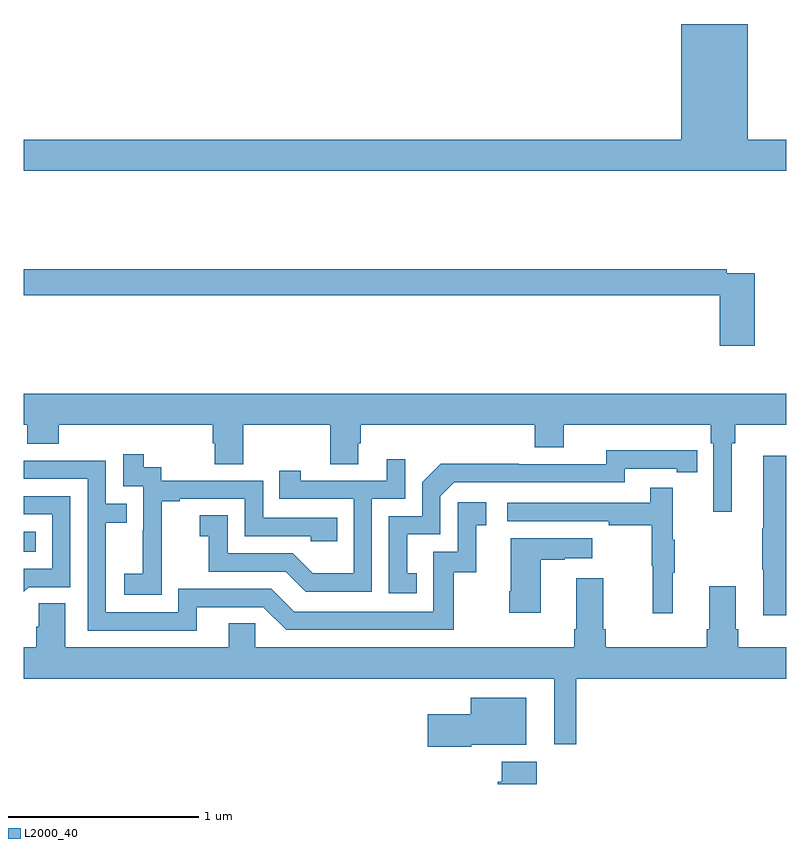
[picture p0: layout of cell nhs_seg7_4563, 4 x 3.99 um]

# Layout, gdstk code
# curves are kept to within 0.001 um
import gdstk
lib = gdstk.Library(unit=1e-6, precision=1e-09)
def R(c, l, rs):  # rectangles x0, y0, x1, y1
    for r in rs: c.add(gdstk.rectangle(r[:2], r[2:], *l))
def P(c, l, *ps):  # polygons
    for p in ps: c.add(gdstk.Polygon(p, *l))
L2000_40 = (2000, 40)

nhs_seg7_4563 = lib.new_cell('nhs_seg7_4563')
R(nhs_seg7_4563, L2000_40, [(397,1065.218,397.064,1065.322)])
P(nhs_seg7_4563, L2000_40, [(401,1067.38),(400.798,1067.38),(400.798,1067.986),(400.448,1067.986),(400.448,1067.38),(397,1067.38),(397,1067.216),(401,1067.216)],
  [(400.835,1066.68),(400.688,1066.68),(400.688,1066.7),(397,1066.7),(397,1066.564),(400.652,1066.564),(400.652,1066.299),(400.835,1066.299)],
  [(400.714,1065.788),(400.733,1065.788),(400.733,1065.884),(401,1065.884),(401,1066.048),(397,1066.048),(397,1065.884),(397.019,1065.884),(397.019,1065.785),(397.184,1065.785),(397.184,1065.884),(397.991,1065.884),(397.991,1065.786),(398.003,1065.786),(398.003,1065.676),(398.151,1065.676),(398.151,1065.884),(398.608,1065.884),(398.608,1065.676),(398.755,1065.676),(398.755,1065.786),(398.768,1065.786),(398.768,1065.884),(399.68,1065.884),(399.68,1065.767),(399.832,1065.767),(399.832,1065.884),(400.604,1065.884),(400.604,1065.788),(400.617,1065.788),(400.617,1065.429),(400.714,1065.429)],
  [(399.062,1065.105),(399.013,1065.105),(399.013,1065.309),(399.186,1065.309),(399.186,1065.51),(399.258,1065.582),(400.152,1065.582),(400.152,1065.654),(400.424,1065.654),(400.424,1065.634),(400.532,1065.634),(400.532,1065.75),(400.056,1065.751),(400.056,1065.678),(399.596,1065.678),(399.596,1065.68),(399.188,1065.68),(399.09,1065.582),(399.09,1065.405),(398.916,1065.405),(398.916,1065),(399.062,1065)],
  [(397.725,1065.199),(397.724,1065.199),(397.724,1065.483),(397.819,1065.483),(397.819,1065.495),(398.16,1065.495),(398.16,1065.3),(398.505,1065.3),(398.505,1065.273),(398.645,1065.273),(398.645,1065.396),(398.256,1065.396),(398.256,1065.591),(397.722,1065.591),(397.722,1065.66),(397.63,1065.66),(397.63,1065.73),(397.521,1065.73),(397.521,1065.561),(397.626,1065.561),(397.626,1065.332),(397.625,1065.332),(397.625,1065.103),(397.527,1065.103),(397.527,1064.993),(397.725,1064.993)],
  [(401,1065.721),(400.88,1065.721),(400.88,1065.341),(400.873,1065.341),(400.873,1065.124),(400.88,1065.124),(400.88,1064.886),(401,1064.886)],
  [(398.826,1065.495),(399,1065.495),(399,1065.703),(398.903,1065.703),(398.903,1065.591),(398.452,1065.591),(398.452,1065.643),(398.341,1065.643),(398.341,1065.495),(398.73,1065.495),(398.73,1065.106),(398.516,1065.106),(398.412,1065.21),(398.07,1065.21),(398.07,1065.409),(397.923,1065.409),(397.923,1065.299),(397.972,1065.299),(397.972,1065.114),(398.375,1065.114),(398.48,1065.009),(398.826,1065.009)],
  [(397.909,1064.928),(398.256,1064.928),(398.376,1064.808),(399.256,1064.808),(399.256,1065.111),(399.374,1065.111),(399.374,1065.357),(399.427,1065.357),(399.427,1065.478),(399.276,1065.478),(399.276,1065.219),(399.147,1065.219),(399.147,1064.904),(398.418,1064.904),(398.298,1065.024),(397.812,1065.024),(397.812,1064.901),(397.431,1064.901),(397.431,1065.37),(397.541,1065.37),(397.541,1065.471),(397.431,1065.471),(397.431,1065.696),(397,1065.696),(397,1065.6),(397.335,1065.6),(397.335,1064.805),(397.909,1064.805)],
  [(400.403,1065.107),(400.414,1065.107),(400.414,1065.281),(400.403,1065.281),(400.403,1065.553),(400.285,1065.553),(400.285,1065.474),(399.537,1065.474),(399.537,1065.378),(400.069,1065.378),(400.069,1065.358),(400.293,1065.358),(400.293,1065.144),(400.3,1065.144),(400.3,1064.895),(400.403,1064.895)],
  [(397.026,1065.033),(397.245,1065.033),(397.245,1065.51),(397,1065.51),(397,1065.414),(397.149,1065.414),(397.149,1065.129),(397,1065.129),(397,1065.007)],
  [(399.712,1065.175),(399.839,1065.175),(399.839,1065.185),(399.982,1065.185),(399.982,1065.289),(399.554,1065.289),(399.554,1065.01),(399.547,1065.01),(399.547,1064.898),(399.712,1064.898)],
  [(399.899,1064.552),(401,1064.552),(401,1064.716),(400.748,1064.716),(400.748,1064.812),(400.735,1064.812),(400.735,1065.037),(400.595,1065.037),(400.595,1064.812),(400.583,1064.812),(400.583,1064.716),(400.052,1064.716),(400.052,1064.812),(400.039,1064.812),(400.039,1065.079),(399.899,1065.079),(399.899,1064.812),(399.887,1064.812),(399.887,1064.716),(398.214,1064.716),(398.214,1064.843),(398.075,1064.843),(398.075,1064.716),(397.219,1064.716),(397.219,1064.948),(397.08,1064.948),(397.08,1064.825),(397.067,1064.825),(397.067,1064.716),(397,1064.716),(397,1064.552),(399.782,1064.552),(399.782,1064.208),(399.899,1064.208)],
  [(399.348,1064.207),(399.637,1064.207),(399.637,1064.452),(399.344,1064.452),(399.344,1064.365),(399.12,1064.365),(399.12,1064.195),(399.348,1064.195)],
  [(399.691,1064.116),(399.507,1064.116),(399.507,1064.012),(399.487,1064.012),(399.487,1064),(399.691,1064)])

lib.write_gds('nhs_seg7_4563.gds')
